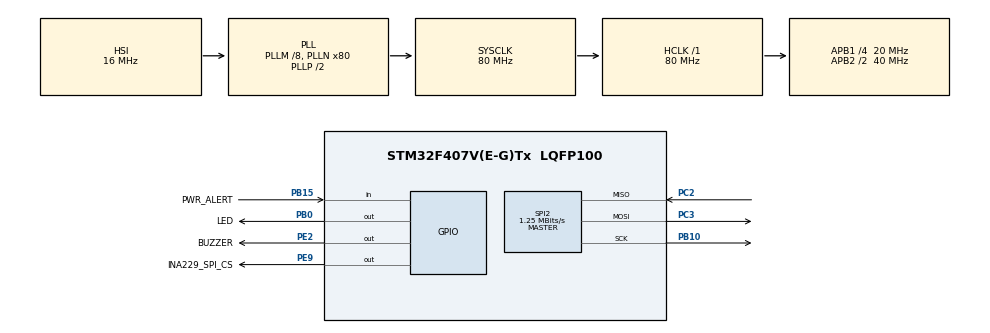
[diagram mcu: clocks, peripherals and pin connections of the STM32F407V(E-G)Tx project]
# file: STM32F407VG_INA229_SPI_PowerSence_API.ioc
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Mcu.Family=STM32F4
Mcu.Name=STM32F407V(E-G)Tx
Mcu.Package=LQFP100
NVIC.PriorityGroup=NVIC_PRIORITYGROUP_4
PB0.GPIO_Label=LED
PB0.Signal=GPIO_Output
PB10.Mode=Full_Duplex_Master
PB10.Signal=SPI2_SCK
PB15.GPIO_Label=PWR_ALERT
PB15.Signal=GPIO_Input
PC2.Mode=Full_Duplex_Master
PC2.Signal=SPI2_MISO
PC3.Mode=Full_Duplex_Master
PC3.Signal=SPI2_MOSI
PE2.GPIO_Label=BUZZER
PE2.Signal=GPIO_Output
PE9.GPIO_Label=INA229_SPI_CS
PE9.Signal=GPIO_Output
ProjectManager.HeapSize=0x200
ProjectManager.StackSize=0x400
ProjectManager.TargetToolchain=STM32CubeIDE
RCC.48MHZClocksFreq_Value=40000000
RCC.AHBFreq_Value=80000000
RCC.APB1CLKDivider=RCC_HCLK_DIV4
RCC.APB1Freq_Value=20000000
RCC.APB1TimFreq_Value=40000000
RCC.APB2CLKDivider=RCC_HCLK_DIV2
RCC.APB2Freq_Value=40000000
RCC.APB2TimFreq_Value=80000000
RCC.CortexFreq_Value=80000000
RCC.HCLKFreq_Value=80000000
RCC.HSE_VALUE=25000000
RCC.HSI_VALUE=16000000
RCC.LSE_VALUE=32768
RCC.PLLM=8
RCC.PLLN=80
RCC.SYSCLKFreq_VALUE=80000000
RCC.SYSCLKSource=RCC_SYSCLKSOURCE_PLLCLK
RCC.VCOOutputFreq_Value=160000000
SPI2.BaudRatePrescaler=SPI_BAUDRATEPRESCALER_16
SPI2.CLKPhase=SPI_PHASE_2EDGE
SPI2.CalculateBaudRate=1.25 MBits/s
SPI2.Direction=SPI_DIRECTION_2LINES
SPI2.Mode=SPI_MODE_MASTER
SPI2.VirtualType=VM_MASTER
TIM6.Period=65536 - 1
TIM6.Prescaler=40000 - 1
VP_TIM6_VS_ClockSourceINT.Mode=Enable_Timer
board=custom

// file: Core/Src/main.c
/* USER CODE BEGIN Header */
/**
 ******************************************************************************
 * @file           : main.c
 * @brief          : Main program body
 ******************************************************************************
 * @attention
 *
 * Copyright (c) 2023 STMicroelectronics.
 * All rights reserved.
 *
 * This software is licensed under terms that can be found in the LICENSE file
 * in the root directory of this software component.
 * If no LICENSE file comes with this software, it is provided AS-IS.
 *
 ******************************************************************************
 */
/* USER CODE END Header */
#include "main.h"

/* USER CODE BEGIN Includes */
#include "INA229.h"
#include <stdlib.h>

/* USER CODE END Includes */

SPI_HandleTypeDef hspi2;

TIM_HandleTypeDef htim6;

void SystemClock_Config(void);
static void MX_GPIO_Init(void);
static void MX_SPI2_Init(void);
static void MX_TIM6_Init(void);
/* USER CODE BEGIN PFP */
void Buzzer_Trigger(void);
/* USER CODE END PFP */

/* USER CODE BEGIN 0 */

/* INA299 variables */
INA299_Readings INA299_Values = {0.0, 0.0, 0.0, 0.0};

/* USER CODE END 0 */

int main(void)
{

  /* MCU Configuration--------------------------------------------------------*/

  /* Reset of all peripherals, Initializes the Flash interface and the Systick. */
  HAL_Init();

  /* Configure the system clock */
  SystemClock_Config();

  /* Initialize all configured peripherals */
  MX_GPIO_Init();
  MX_SPI2_Init();
  MX_TIM6_Init();
  /* USER CODE BEGIN 2 */

	/* Init SPI1 as Power sense SPI port */
	INA229_Init(&hspi2,&htim6);
	Buzzer_Trigger();

  /* USER CODE END 2 */

  /* Infinite loop */
	while (1)
	{

    /* USER CODE BEGIN 3 */

		INA299_Values = Get_INA299_Readings();
	}
  /* USER CODE END 3 */
}

void SystemClock_Config(void)
{
  RCC_OscInitTypeDef RCC_OscInitStruct = {0};
  RCC_ClkInitTypeDef RCC_ClkInitStruct = {0};

  /** Configure the main internal regulator output voltage
  */
  __HAL_RCC_PWR_CLK_ENABLE();
  __HAL_PWR_VOLTAGESCALING_CONFIG(PWR_REGULATOR_VOLTAGE_SCALE1);

  /** Initializes the RCC Oscillators according to the specified parameters
  * in the RCC_OscInitTypeDef structure.
  */
  RCC_OscInitStruct.OscillatorType = RCC_OSCILLATORTYPE_HSI;
  RCC_OscInitStruct.HSIState = RCC_HSI_ON;
  RCC_OscInitStruct.HSICalibrationValue = RCC_HSICALIBRATION_DEFAULT;
  RCC_OscInitStruct.PLL.PLLState = RCC_PLL_ON;
  RCC_OscInitStruct.PLL.PLLSource = RCC_PLLSOURCE_HSI;
  RCC_OscInitStruct.PLL.PLLM = 8;
  RCC_OscInitStruct.PLL.PLLN = 80;
  RCC_OscInitStruct.PLL.PLLP = RCC_PLLP_DIV2;
  RCC_OscInitStruct.PLL.PLLQ = 4;
  if (HAL_RCC_OscConfig(&RCC_OscInitStruct) != HAL_OK)
  {
    Error_Handler();
  }

  /** Initializes the CPU, AHB and APB buses clocks
  */
  RCC_ClkInitStruct.ClockType = RCC_CLOCKTYPE_HCLK|RCC_CLOCKTYPE_SYSCLK
                              |RCC_CLOCKTYPE_PCLK1|RCC_CLOCKTYPE_PCLK2;
  RCC_ClkInitStruct.SYSCLKSource = RCC_SYSCLKSOURCE_PLLCLK;
  RCC_ClkInitStruct.AHBCLKDivider = RCC_SYSCLK_DIV1;
  RCC_ClkInitStruct.APB1CLKDivider = RCC_HCLK_DIV4;
  RCC_ClkInitStruct.APB2CLKDivider = RCC_HCLK_DIV2;

  if (HAL_RCC_ClockConfig(&RCC_ClkInitStruct, FLASH_LATENCY_2) != HAL_OK)
  {
    Error_Handler();
  }
}

static void MX_SPI2_Init(void)
{

  /* SPI2 parameter configuration*/
  hspi2.Instance = SPI2;
  hspi2.Init.Mode = SPI_MODE_MASTER;
  hspi2.Init.Direction = SPI_DIRECTION_2LINES;
  hspi2.Init.DataSize = SPI_DATASIZE_8BIT;
  hspi2.Init.CLKPolarity = SPI_POLARITY_LOW;
  hspi2.Init.CLKPhase = SPI_PHASE_2EDGE;
  hspi2.Init.NSS = SPI_NSS_SOFT;
  hspi2.Init.BaudRatePrescaler = SPI_BAUDRATEPRESCALER_16;
  hspi2.Init.FirstBit = SPI_FIRSTBIT_MSB;
  hspi2.Init.TIMode = SPI_TIMODE_DISABLE;
  hspi2.Init.CRCCalculation = SPI_CRCCALCULATION_DISABLE;
  hspi2.Init.CRCPolynomial = 10;
  if (HAL_SPI_Init(&hspi2) != HAL_OK)
  {
    Error_Handler();
  }

}

static void MX_TIM6_Init(void)
{

  TIM_MasterConfigTypeDef sMasterConfig = {0};

  htim6.Instance = TIM6;
  htim6.Init.Prescaler = 40000 - 1;
  htim6.Init.CounterMode = TIM_COUNTERMODE_UP;
  htim6.Init.Period = 65536 - 1;
  htim6.Init.AutoReloadPreload = TIM_AUTORELOAD_PRELOAD_DISABLE;
  if (HAL_TIM_Base_Init(&htim6) != HAL_OK)
  {
    Error_Handler();
  }
  sMasterConfig.MasterOutputTrigger = TIM_TRGO_RESET;
  sMasterConfig.MasterSlaveMode = TIM_MASTERSLAVEMODE_DISABLE;
  if (HAL_TIMEx_MasterConfigSynchronization(&htim6, &sMasterConfig) != HAL_OK)
  {
    Error_Handler();
  }

}

static void MX_GPIO_Init(void)
{
  GPIO_InitTypeDef GPIO_InitStruct = {0};

  /* GPIO Ports Clock Enable */
  __HAL_RCC_GPIOE_CLK_ENABLE();
  __HAL_RCC_GPIOC_CLK_ENABLE();
  __HAL_RCC_GPIOB_CLK_ENABLE();

  /*Configure GPIO pin Output Level */
  HAL_GPIO_WritePin(GPIOE, BUZZER_Pin|INA229_SPI_CS_Pin, GPIO_PIN_RESET);

  /*Configure GPIO pin Output Level */
  HAL_GPIO_WritePin(LED_GPIO_Port, LED_Pin, GPIO_PIN_RESET);

  /*Configure GPIO pins : BUZZER_Pin INA229_SPI_CS_Pin */
  GPIO_InitStruct.Pin = BUZZER_Pin|INA229_SPI_CS_Pin;
  GPIO_InitStruct.Mode = GPIO_MODE_OUTPUT_PP;
  GPIO_InitStruct.Pull = GPIO_NOPULL;
  GPIO_InitStruct.Speed = GPIO_SPEED_FREQ_LOW;
  HAL_GPIO_Init(GPIOE, &GPIO_InitStruct);

  /*Configure GPIO pin : LED_Pin */
  GPIO_InitStruct.Pin = LED_Pin;
  GPIO_InitStruct.Mode = GPIO_MODE_OUTPUT_PP;
  GPIO_InitStruct.Pull = GPIO_NOPULL;
  GPIO_InitStruct.Speed = GPIO_SPEED_FREQ_LOW;
  HAL_GPIO_Init(LED_GPIO_Port, &GPIO_InitStruct);

  /*Configure GPIO pin : PWR_ALERT_Pin */
  GPIO_InitStruct.Pin = PWR_ALERT_Pin;
  GPIO_InitStruct.Mode = GPIO_MODE_INPUT;
  GPIO_InitStruct.Pull = GPIO_NOPULL;
  HAL_GPIO_Init(PWR_ALERT_GPIO_Port, &GPIO_InitStruct);

}

/* USER CODE BEGIN 4 */
void Buzzer_Trigger(void) {
	HAL_GPIO_TogglePin(BUZZER_GPIO_Port, BUZZER_Pin);
	HAL_Delay(50);
	HAL_GPIO_TogglePin(BUZZER_GPIO_Port, BUZZER_Pin);
	HAL_Delay(300);
	HAL_GPIO_TogglePin(BUZZER_GPIO_Port, BUZZER_Pin);
	HAL_Delay(300);
	HAL_GPIO_TogglePin(BUZZER_GPIO_Port, BUZZER_Pin);
	HAL_GPIO_WritePin(BUZZER_GPIO_Port, BUZZER_Pin, GPIO_PIN_RESET);
}

/* USER CODE END 4 */

void Error_Handler(void)
{
	__disable_irq();
	while (1)
	{
	}
}
